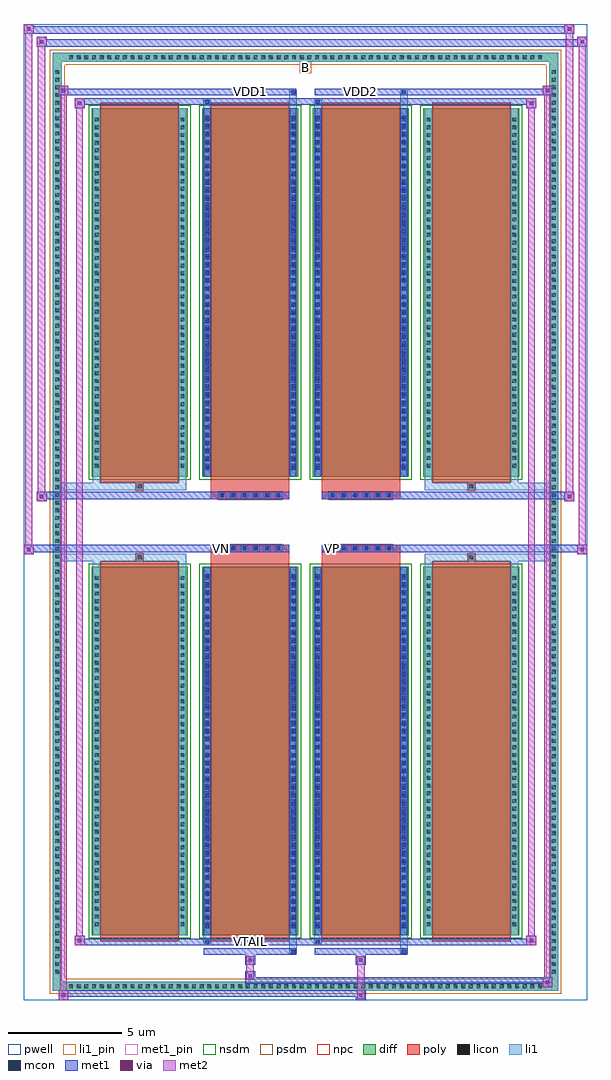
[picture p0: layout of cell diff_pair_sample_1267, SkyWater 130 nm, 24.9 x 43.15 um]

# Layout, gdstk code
import gdstk
lib = gdstk.Library(unit=1e-6, precision=5e-09)
def R(c, l, rs):  # rectangles x0, y0, x1, y1
    for r in rs: c.add(gdstk.rectangle(r[:2], r[2:], *l))
def A(c, l, x, y, w, h, nx, ny, dx, dy):  # array of equal rectangles
    R(c, l, [(x+i*dx, y+j*dy, x+i*dx+w, y+j*dy+h) for i in range(nx) for j in range(ny)])
def P(c, l, *ps):  # polygons
    for p in ps: c.add(gdstk.Polygon(p, *l))
pwell = (64, 44)
diff = (65, 20)
poly = (66, 20)
licon = (66, 44)
li1_pin = (67, 16)
li1 = (67, 20)
mcon = (67, 44)
met1_pin = (68, 16)
met1 = (68, 20)
via = (68, 44)
met2 = (69, 20)
nsdm = (93, 44)
psdm = (94, 20)
npc = (95, 20)

diff_pair_sample_1267 = lib.new_cell('diff_pair_sample_1267')
R(diff_pair_sample_1267, pwell, [(-12.45,-21.14,12.45,22.01), (-9.77,-19.33,-0.01,-0.805), (0.01,-19.33,9.77,-0.805), (-9.77,0.805,-0.01,19.33), (0.01,0.805,9.77,19.33)])
A(diff_pair_sample_1267, diff, -10.575, -20.74, 0.41, 0.41, 62, 2, 0.34, 41.07)
A(diff_pair_sample_1267, diff, -11.18, -20.095, 0.41, 0.41, 1, 118, 0, 0.34)
A(diff_pair_sample_1267, diff, 10.77, -20.095, 0.41, 0.41, 1, 118, 0, 0.34)
A(diff_pair_sample_1267, diff, -9.46, -18.285, 4.25, 16.3, 4, 2, 4.89, 20.27)
R(diff_pair_sample_1267, diff, [(-10.575,-20.74,10.575,-20.33), (-11.18,-20.095,-10.77,20.095), (10.77,-20.095,11.18,20.095), (-10.575,20.33,10.575,20.74)])
P(diff_pair_sample_1267, diff, [(11.18,20.74),(-11.18,20.74),(-11.18,-20.33),(-10.77,-20.33),(-10.77,20.33),(10.77,20.33),(10.77,-20.33),(-10.77,-20.33),(-11.18,-20.33),(-11.18,-20.74),(11.18,-20.74)])
A(diff_pair_sample_1267, poly, -9.07, -18.535, 3.47, 16.8, 4, 2, 4.89, 20.27)
A(diff_pair_sample_1267, poly, -3.86, -1.335, 0.33, 0.33, 6, 2, 0.5, 2.34)
A(diff_pair_sample_1267, poly, 1.03, -1.335, 0.33, 0.33, 6, 2, 0.5, 2.34)
R(diff_pair_sample_1267, poly, [(-7.5,-1.735,-7.17,-1.405), (-7.5,-1.735,-7.17,-1.405), (-4.18,-1.735,-0.71,-1.335), (0.71,-1.735,4.18,-1.335), (7.17,-1.735,7.5,-1.405), (7.17,-1.735,7.5,-1.405), (-4.18,-1.335,-0.71,-1.005), (0.71,-1.335,4.18,-1.005), (-4.18,1.005,-0.71,1.335), (0.71,1.005,4.18,1.335), (-4.18,1.335,-0.71,1.735), (0.71,1.335,4.18,1.735), (-7.5,1.405,-7.17,1.735), (-7.5,1.405,-7.17,1.735), (7.17,1.405,7.5,1.735), (7.17,1.405,7.5,1.735)])
A(diff_pair_sample_1267, licon, -10.455, -20.62, 0.17, 0.17, 62, 2, 0.34, 41.07)
A(diff_pair_sample_1267, licon, -11.06, -19.975, 0.17, 0.17, 1, 118, 0, 0.34)
A(diff_pair_sample_1267, licon, 10.89, -19.975, 0.17, 0.17, 1, 118, 0, 0.34)
A(diff_pair_sample_1267, licon, -9.32, -17.87, 0.17, 0.17, 1, 46, 0, 0.34)
A(diff_pair_sample_1267, licon, -5.52, -17.87, 0.17, 0.17, 1, 46, 0, 0.34)
A(diff_pair_sample_1267, licon, -4.43, -17.87, 0.17, 0.17, 1, 46, 0, 0.34)
A(diff_pair_sample_1267, licon, -0.63, -17.87, 0.17, 0.17, 1, 46, 0, 0.34)
A(diff_pair_sample_1267, licon, 0.46, -17.87, 0.17, 0.17, 1, 46, 0, 0.34)
A(diff_pair_sample_1267, licon, 4.26, -17.87, 0.17, 0.17, 1, 46, 0, 0.34)
A(diff_pair_sample_1267, licon, 5.35, -17.87, 0.17, 0.17, 1, 46, 0, 0.34)
A(diff_pair_sample_1267, licon, 9.15, -17.87, 0.17, 0.17, 1, 46, 0, 0.34)
A(diff_pair_sample_1267, licon, -3.78, -1.255, 0.17, 0.17, 6, 2, 0.5, 2.34)
A(diff_pair_sample_1267, licon, 1.11, -1.255, 0.17, 0.17, 6, 2, 0.5, 2.34)
A(diff_pair_sample_1267, licon, -9.32, 2.4, 0.17, 0.17, 1, 46, 0, 0.34)
A(diff_pair_sample_1267, licon, -5.52, 2.4, 0.17, 0.17, 1, 46, 0, 0.34)
A(diff_pair_sample_1267, licon, -4.43, 2.4, 0.17, 0.17, 1, 46, 0, 0.34)
A(diff_pair_sample_1267, licon, -0.63, 2.4, 0.17, 0.17, 1, 46, 0, 0.34)
A(diff_pair_sample_1267, licon, 0.46, 2.4, 0.17, 0.17, 1, 46, 0, 0.34)
A(diff_pair_sample_1267, licon, 4.26, 2.4, 0.17, 0.17, 1, 46, 0, 0.34)
A(diff_pair_sample_1267, licon, 5.35, 2.4, 0.17, 0.17, 1, 46, 0, 0.34)
A(diff_pair_sample_1267, licon, 9.15, 2.4, 0.17, 0.17, 1, 46, 0, 0.34)
R(diff_pair_sample_1267, licon, [(-7.42,-1.655,-7.25,-1.485), (7.25,-1.655,7.42,-1.485), (-7.42,1.485,-7.25,1.655), (7.25,1.485,7.42,1.655)])
R(diff_pair_sample_1267, li1_pin, [(-0.25,19.83,0.25,20.33)])
A(diff_pair_sample_1267, li1, -10.535, -20.7, 0.33, 0.33, 62, 2, 0.34, 41.07)
A(diff_pair_sample_1267, li1, -11.14, -20.055, 0.33, 0.33, 1, 118, 0, 0.34)
A(diff_pair_sample_1267, li1, 10.81, -20.055, 0.33, 0.33, 1, 118, 0, 0.34)
A(diff_pair_sample_1267, li1, -4.43, -17.96, 0.17, 0.17, 1, 44, 0, 0.36)
A(diff_pair_sample_1267, li1, -0.63, -17.96, 0.17, 0.17, 1, 44, 0, 0.36)
A(diff_pair_sample_1267, li1, 0.46, -17.96, 0.17, 0.17, 1, 44, 0, 0.36)
A(diff_pair_sample_1267, li1, 4.26, -17.96, 0.17, 0.17, 1, 44, 0, 0.36)
A(diff_pair_sample_1267, li1, -9.4, -17.95, 0.33, 0.33, 1, 46, 0, 0.34)
A(diff_pair_sample_1267, li1, -5.6, -17.95, 0.33, 0.33, 1, 46, 0, 0.34)
A(diff_pair_sample_1267, li1, -4.51, -17.95, 0.33, 0.33, 1, 46, 0, 0.34)
A(diff_pair_sample_1267, li1, -0.71, -17.95, 0.33, 0.33, 1, 46, 0, 0.34)
A(diff_pair_sample_1267, li1, 0.38, -17.95, 0.33, 0.33, 1, 46, 0, 0.34)
A(diff_pair_sample_1267, li1, 4.18, -17.95, 0.33, 0.33, 1, 46, 0, 0.34)
A(diff_pair_sample_1267, li1, 5.27, -17.95, 0.33, 0.33, 1, 46, 0, 0.34)
A(diff_pair_sample_1267, li1, 9.07, -17.95, 0.33, 0.33, 1, 46, 0, 0.34)
A(diff_pair_sample_1267, li1, -3.86, -1.335, 0.33, 0.33, 6, 2, 0.5, 2.34)
A(diff_pair_sample_1267, li1, 1.03, -1.335, 0.33, 0.33, 6, 2, 0.5, 2.34)
A(diff_pair_sample_1267, li1, -4.43, 2.31, 0.17, 0.17, 1, 44, 0, 0.36)
A(diff_pair_sample_1267, li1, -0.63, 2.31, 0.17, 0.17, 1, 44, 0, 0.36)
A(diff_pair_sample_1267, li1, 0.46, 2.31, 0.17, 0.17, 1, 44, 0, 0.36)
A(diff_pair_sample_1267, li1, 4.26, 2.31, 0.17, 0.17, 1, 44, 0, 0.36)
A(diff_pair_sample_1267, li1, -9.4, 2.32, 0.33, 0.33, 1, 46, 0, 0.34)
A(diff_pair_sample_1267, li1, -5.6, 2.32, 0.33, 0.33, 1, 46, 0, 0.34)
A(diff_pair_sample_1267, li1, -4.51, 2.32, 0.33, 0.33, 1, 46, 0, 0.34)
A(diff_pair_sample_1267, li1, -0.71, 2.32, 0.33, 0.33, 1, 46, 0, 0.34)
A(diff_pair_sample_1267, li1, 0.38, 2.32, 0.33, 0.33, 1, 46, 0, 0.34)
A(diff_pair_sample_1267, li1, 4.18, 2.32, 0.33, 0.33, 1, 46, 0, 0.34)
A(diff_pair_sample_1267, li1, 5.27, 2.32, 0.33, 0.33, 1, 46, 0, 0.34)
A(diff_pair_sample_1267, li1, 9.07, 2.32, 0.33, 0.33, 1, 46, 0, 0.34)
R(diff_pair_sample_1267, li1, [(-11.18,-20.74,-10.77,-20.33), (-11.18,-20.74,-10.77,-20.33), (-10.77,-20.74,10.77,-20.33), (10.77,-20.74,11.18,-20.33), (10.77,-20.74,11.18,-20.33), (-11.18,-20.33,-10.77,20.33), (10.77,-20.33,11.18,20.33), (-0.71,-19.09,-0.38,-18.285), (-0.63,-19.09,-0.46,-18.92), (4.18,-19.09,4.51,-18.285), (4.26,-19.09,4.43,-18.92), (-4.51,-18.66,-4.18,-18.285), (-4.43,-18.66,-4.26,-18.49), (0.38,-18.66,0.71,-18.285), (0.46,-18.66,0.63,-18.49), (-9.4,-18.285,-9.07,-1.985), (-5.6,-18.285,-5.27,-1.985), (-4.51,-18.285,-4.18,-1.985), (-0.71,-18.285,-0.38,-1.985), (0.38,-18.285,0.71,-1.985), (4.18,-18.285,4.51,-1.985), (5.27,-18.285,5.6,-1.985), (9.07,-18.285,9.4,-1.985), (-4.43,-17.96,-4.26,-2.31), (-0.63,-17.96,-0.46,-2.31), (0.46,-17.96,0.63,-2.31), (4.26,-17.96,4.43,-2.31), (-9.4,-1.985,-9.07,-1.405), (-5.6,-1.985,-5.27,-1.405), (5.27,-1.985,5.6,-1.405), (9.07,-1.985,9.4,-1.405), (-11.18,-1.735,-7.5,-1.405), (-9.4,-1.735,-7.5,-1.405), (-7.5,-1.735,-7.17,-1.405), (-7.17,-1.735,-5.27,-1.405), (5.27,-1.735,7.17,-1.405), (7.17,-1.735,7.5,-1.405), (7.17,-1.735,11.18,-1.405), (7.5,-1.735,9.4,-1.405), (-11.18,1.405,-7.5,1.735), (-9.4,1.405,-7.5,1.735), (-9.4,1.405,-9.07,1.985), (-7.5,1.405,-7.17,1.735), (-7.17,1.405,-5.27,1.735), (-5.6,1.405,-5.27,1.985), (5.27,1.405,7.17,1.735), (5.27,1.405,5.6,1.985), (7.17,1.405,7.5,1.735), (7.17,1.405,11.18,1.735), (7.5,1.405,9.4,1.735), (9.07,1.405,9.4,1.985), (-9.4,1.985,-9.07,18.285), (-5.6,1.985,-5.27,18.285), (-4.51,1.985,-4.18,18.285), (-0.71,1.985,-0.38,18.285), (0.38,1.985,0.71,18.285), (4.18,1.985,4.51,18.285), (5.27,1.985,5.6,18.285), (9.07,1.985,9.4,18.285), (-4.43,2.31,-4.26,17.96), (-0.63,2.31,-0.46,17.96), (0.46,2.31,0.63,17.96), (4.26,2.31,4.43,17.96), (-4.51,18.285,-4.18,18.66), (-0.71,18.285,-0.38,19.09), (0.38,18.285,0.71,18.66), (4.18,18.285,4.51,19.09), (-4.43,18.49,-4.26,18.66), (0.46,18.49,0.63,18.66), (-0.63,18.92,-0.46,19.09), (4.26,18.92,4.43,19.09), (-11.18,20.33,-10.77,20.74), (-11.18,20.33,-10.77,20.74), (-10.77,20.33,10.77,20.74), (10.77,20.33,11.18,20.74), (10.77,20.33,11.18,20.74)])
A(diff_pair_sample_1267, mcon, -4.43, -17.96, 0.17, 0.17, 1, 44, 0, 0.36)
A(diff_pair_sample_1267, mcon, -0.63, -17.96, 0.17, 0.17, 1, 44, 0, 0.36)
A(diff_pair_sample_1267, mcon, 0.46, -17.96, 0.17, 0.17, 1, 44, 0, 0.36)
A(diff_pair_sample_1267, mcon, 4.26, -17.96, 0.17, 0.17, 1, 44, 0, 0.36)
A(diff_pair_sample_1267, mcon, -3.78, -1.255, 0.17, 0.17, 6, 2, 0.5, 2.34)
A(diff_pair_sample_1267, mcon, 1.11, -1.255, 0.17, 0.17, 6, 2, 0.5, 2.34)
A(diff_pair_sample_1267, mcon, -4.43, 2.31, 0.17, 0.17, 1, 44, 0, 0.36)
A(diff_pair_sample_1267, mcon, -0.63, 2.31, 0.17, 0.17, 1, 44, 0, 0.36)
A(diff_pair_sample_1267, mcon, 0.46, 2.31, 0.17, 0.17, 1, 44, 0, 0.36)
A(diff_pair_sample_1267, mcon, 4.26, 2.31, 0.17, 0.17, 1, 44, 0, 0.36)
R(diff_pair_sample_1267, mcon, [(-0.63,-19.09,-0.46,-18.92), (4.26,-19.09,4.43,-18.92), (-4.43,-18.66,-4.26,-18.49), (0.46,-18.66,0.63,-18.49), (-4.43,18.49,-4.26,18.66), (0.46,18.49,0.63,18.66), (-0.63,18.92,-0.46,19.09), (4.26,18.92,4.43,19.09)])
R(diff_pair_sample_1267, met1_pin, [(-2.58,-18.7,-2.31,-18.43), (-3.83,-1.295,-3.56,-1.025), (1.06,-1.295,1.33,-1.025), (-2.58,18.88,-2.31,19.15), (2.31,18.88,2.58,19.15)])
A(diff_pair_sample_1267, met1, -4.49, -18.02, 0.29, 0.29, 1, 44, 0, 0.36)
A(diff_pair_sample_1267, met1, -0.69, -18.02, 0.29, 0.29, 1, 44, 0, 0.36)
A(diff_pair_sample_1267, met1, 0.4, -18.02, 0.29, 0.29, 1, 44, 0, 0.36)
A(diff_pair_sample_1267, met1, 4.2, -18.02, 0.29, 0.29, 1, 44, 0, 0.36)
A(diff_pair_sample_1267, met1, -3.84, -1.315, 0.29, 0.29, 6, 2, 0.5, 2.34)
A(diff_pair_sample_1267, met1, 1.05, -1.315, 0.29, 0.29, 6, 2, 0.5, 2.34)
A(diff_pair_sample_1267, met1, -4.49, 2.25, 0.29, 0.29, 1, 44, 0, 0.36)
A(diff_pair_sample_1267, met1, -0.69, 2.25, 0.29, 0.29, 1, 44, 0, 0.36)
A(diff_pair_sample_1267, met1, 0.4, 2.25, 0.29, 0.29, 1, 44, 0, 0.36)
A(diff_pair_sample_1267, met1, 4.2, 2.25, 0.29, 0.29, 1, 44, 0, 0.36)
R(diff_pair_sample_1267, met1, [(-10.91,-21.14,-10.48,-20.71), (2.23,-21.14,2.66,-20.71), (-10.91,-21,2.66,-20.71), (10.48,-20.57,10.91,-20.14), (-2.66,-20.43,10.91,-20.14), (-2.66,-20.29,-2.23,-19.86), (-2.66,-19.58,-2.23,-19.15), (2.23,-19.58,2.66,-19.15), (-4.49,-19.15,-0.4,-18.86), (-0.69,-19.15,-0.4,-18.86), (0.4,-19.15,4.49,-18.86), (4.2,-19.15,4.49,-18.86), (-10.2,-18.72,-9.77,-18.29), (-10.2,-18.72,-4.49,-18.43), (-4.49,-18.72,-4.2,-18.43), (-4.49,-18.72,-0.4,-18.43), (-0.4,-18.72,0.4,-18.43), (0.4,-18.72,0.69,-18.43), (0.4,-18.72,4.49,-18.43), (4.49,-18.72,10.2,-18.43), (9.77,-18.72,10.2,-18.29), (-4.49,-18.285,-4.2,-1.985), (-0.69,-18.285,-0.4,-1.985), (0.4,-18.285,0.69,-1.985), (4.2,-18.285,4.49,-1.985), (-12.45,-1.435,-12.02,-1.005), (12.02,-1.435,12.45,-1.005), (-12.45,-1.335,-0.71,-1.005), (-4.18,-1.335,-0.71,-1.005), (0.71,-1.335,4.18,-1.005), (0.71,-1.335,12.45,-1.005), (-11.88,0.905,-11.45,1.335), (11.45,0.905,11.88,1.335), (-11.88,1.005,-4.18,1.335), (-4.18,1.005,-0.71,1.335), (0.71,1.005,4.18,1.335), (4.18,1.005,11.88,1.335), (-4.49,1.985,-4.2,18.285), (-0.69,1.985,-0.4,18.285), (0.4,1.985,0.69,18.285), (4.2,1.985,4.49,18.285), (-10.2,18.29,-9.77,18.72), (9.77,18.29,10.2,18.72), (-10.2,18.43,-4.49,18.72), (-4.49,18.43,-4.2,18.72), (-4.49,18.43,-0.4,18.72), (-0.4,18.43,0.4,18.72), (0.4,18.43,0.69,18.72), (0.4,18.43,4.49,18.72), (4.49,18.43,10.2,18.72), (-10.91,18.86,-10.48,19.29), (-10.91,18.86,-4.49,19.15), (-4.49,18.86,-0.4,19.15), (-0.69,18.86,-0.4,19.15), (0.4,18.86,4.49,19.15), (4.2,18.86,4.49,19.15), (4.49,18.86,10.91,19.15), (10.48,18.86,10.91,19.29), (-11.88,21.01,-11.45,21.44), (-11.88,21.01,-9.77,21.34), (-9.77,21.01,9.77,21.34), (9.77,21.01,12.45,21.34), (12.02,21.01,12.45,21.44), (-12.45,21.58,-12.02,22.01), (-12.45,21.58,-9.77,21.91), (-9.77,21.58,9.77,21.91), (9.77,21.58,11.88,21.91), (11.45,21.58,11.88,22.01)])
R(diff_pair_sample_1267, via, [(-10.77,-21,-10.62,-20.85), (2.37,-21,2.52,-20.85), (10.62,-20.43,10.77,-20.28), (-2.52,-20.15,-2.37,-20), (-2.52,-19.44,-2.37,-19.29), (2.37,-19.44,2.52,-19.29), (-10.06,-18.58,-9.91,-18.43), (9.91,-18.58,10.06,-18.43), (-12.31,-1.295,-12.16,-1.145), (12.16,-1.295,12.31,-1.145), (-11.74,1.045,-11.59,1.195), (11.59,1.045,11.74,1.195), (-10.06,18.43,-9.91,18.58), (9.91,18.43,10.06,18.58), (-10.77,19,-10.62,19.15), (10.62,19,10.77,19.15), (-11.74,21.15,-11.59,21.3), (12.16,21.15,12.31,21.3), (-12.31,21.72,-12.16,21.87), (11.59,21.72,11.74,21.87)])
R(diff_pair_sample_1267, met2, [(-10.91,-21.14,-10.48,-20.71), (-10.84,-21.14,-10.55,19.29), (-10.55,-21.14,-10.48,-20.71), (-10.86,-21.09,-10.53,-20.76), (2.28,-21.09,2.61,-20.76), (2.28,-20.76,2.61,-19.53), (10.48,-20.57,10.91,-20.14), (10.55,-20.57,10.84,19.29), (10.84,-20.57,10.91,-20.14), (10.53,-20.52,10.86,-20.19), (-2.61,-20.24,-2.28,-19.91), (-2.61,-19.91,-2.28,-19.53), (-2.61,-19.53,-2.28,-19.2), (2.28,-19.53,2.61,-19.2), (-10.2,-18.72,-9.77,-18.29), (-10.13,-18.72,-9.84,18.72), (-9.84,-18.72,-9.77,-18.29), (9.77,-18.72,10.2,-18.29), (9.84,-18.72,10.13,18.72), (10.13,-18.72,10.2,-18.29), (-10.15,-18.67,-9.82,-18.34), (9.82,-18.67,10.15,-18.34), (-12.45,-1.435,-12.02,-1.005), (-12.4,-1.435,-12.07,22.01), (-12.07,-1.435,-12.02,-1.005), (12.02,-1.435,12.45,-1.005), (12.07,-1.435,12.4,21.44), (12.4,-1.435,12.45,-1.005), (-12.4,-1.385,-12.07,-1.055), (12.07,-1.385,12.4,-1.055), (-11.88,0.905,-11.45,1.335), (-11.83,0.905,-11.5,21.44), (-11.5,0.905,-11.45,1.335), (11.45,0.905,11.88,1.335), (11.5,0.905,11.83,22.01), (11.83,0.905,11.88,1.335), (-11.83,0.955,-11.5,1.285), (11.5,0.955,11.83,1.285), (-10.2,18.29,-9.77,18.72), (-9.84,18.29,-9.77,18.72), (9.77,18.29,10.2,18.72), (10.13,18.29,10.2,18.72), (-10.15,18.34,-9.82,18.67), (9.82,18.34,10.15,18.67), (-10.91,18.86,-10.48,19.29), (-10.55,18.86,-10.48,19.29), (10.48,18.86,10.91,19.29), (10.84,18.86,10.91,19.29), (-10.86,18.91,-10.53,19.24), (10.53,18.91,10.86,19.24), (-11.88,21.01,-11.45,21.44), (-11.5,21.01,-11.45,21.44), (12.02,21.01,12.45,21.44), (12.4,21.01,12.45,21.44), (-11.83,21.06,-11.5,21.39), (12.07,21.06,12.4,21.39), (-12.45,21.58,-12.02,22.01), (-12.07,21.58,-12.02,22.01), (11.45,21.58,11.88,22.01), (11.83,21.58,11.88,22.01), (-12.4,21.63,-12.07,21.96), (11.5,21.63,11.83,21.96)])
A(diff_pair_sample_1267, nsdm, -9.59, -18.415, 4.51, 16.56, 4, 2, 4.89, 20.27)
P(diff_pair_sample_1267, psdm, [(11.31,20.87),(-11.31,20.87),(-11.31,-20.2),(-10.64,-20.2),(-10.64,20.2),(10.64,20.2),(10.64,-20.2),(-10.64,-20.2),(-11.31,-20.2),(-11.31,-20.87),(11.31,-20.87)])
A(diff_pair_sample_1267, npc, -3.88, -1.355, 0.37, 0.37, 6, 2, 0.5, 2.34)
A(diff_pair_sample_1267, npc, 1.01, -1.355, 0.37, 0.37, 6, 2, 0.5, 2.34)
R(diff_pair_sample_1267, npc, [(-7.52,-1.755,-7.15,-1.385), (7.15,-1.755,7.52,-1.385), (-3.88,-1.355,-3.01,-0.985), (-3.88,-1.355,-3.01,-0.985), (-3.38,-1.355,-2.51,-0.985), (-3.38,-1.355,-2.51,-0.985), (-2.88,-1.355,-2.01,-0.985), (-2.88,-1.355,-2.01,-0.985), (-2.38,-1.355,-1.51,-0.985), (-2.38,-1.355,-1.51,-0.985), (-1.88,-1.355,-1.01,-0.985), (-1.88,-1.355,-1.01,-0.985), (1.01,-1.355,1.88,-0.985), (1.01,-1.355,1.88,-0.985), (1.51,-1.355,2.38,-0.985), (1.51,-1.355,2.38,-0.985), (2.01,-1.355,2.88,-0.985), (2.01,-1.355,2.88,-0.985), (2.51,-1.355,3.38,-0.985), (2.51,-1.355,3.38,-0.985), (3.01,-1.355,3.88,-0.985), (3.01,-1.355,3.88,-0.985), (-3.88,0.985,-3.01,1.355), (-3.88,0.985,-3.01,1.355), (-3.38,0.985,-2.51,1.355), (-3.38,0.985,-2.51,1.355), (-2.88,0.985,-2.01,1.355), (-2.88,0.985,-2.01,1.355), (-2.38,0.985,-1.51,1.355), (-2.38,0.985,-1.51,1.355), (-1.88,0.985,-1.01,1.355), (-1.88,0.985,-1.01,1.355), (1.01,0.985,1.88,1.355), (1.01,0.985,1.88,1.355), (1.51,0.985,2.38,1.355), (1.51,0.985,2.38,1.355), (2.01,0.985,2.88,1.355), (2.01,0.985,2.88,1.355), (2.51,0.985,3.38,1.355), (2.51,0.985,3.38,1.355), (3.01,0.985,3.88,1.355), (3.01,0.985,3.88,1.355), (-7.52,1.385,-7.15,1.755), (7.15,1.385,7.52,1.755)])
diff_pair_sample_1267.add(gdstk.Label('VTAIL', (-2.445,-18.565), layer=68, texttype=5))
diff_pair_sample_1267.add(gdstk.Label('VN', (-3.695,-1.16), layer=68, texttype=5))
diff_pair_sample_1267.add(gdstk.Label('VP', (1.195,-1.16), layer=68, texttype=5))
diff_pair_sample_1267.add(gdstk.Label('B', (0,20.08), layer=67, texttype=5))
diff_pair_sample_1267.add(gdstk.Label('VDD2', (2.445,19.015), layer=68, texttype=5))
diff_pair_sample_1267.add(gdstk.Label('VDD1', (-2.445,19.015), layer=68, texttype=5))

lib.write_gds('diff_pair_sample_1267.gds')
